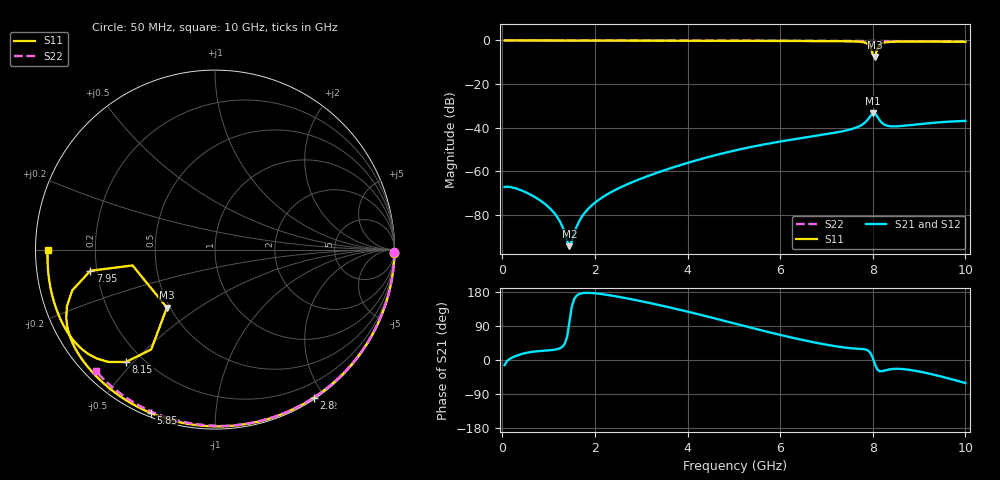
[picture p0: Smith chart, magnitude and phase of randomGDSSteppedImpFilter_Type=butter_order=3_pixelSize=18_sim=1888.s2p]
! freq	dB(S11)	phase(S11)	dB(S12)	phase(S12)
!  dB(S21)	phase(S21)	dB(S22)	phase(S22)
!S-par simulation data
#  GHz  S  DB  R 50
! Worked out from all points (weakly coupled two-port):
!   200 points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, 50 MHz to 10 GHz, reference 50 ohm
!   highest |S21| = -33.42 dB at 8 GHz (marker M1); lowest = -94.5 dB at 1.45 GHz (marker M2)
!   lowest |S11| = -7.5 dB at 8.05 GHz (marker M3), VSWR 2.45, Z = 24.1 - j18.9 ohm
!   |S11| at or under -10 dB: nowhere
!   |S22| runs from -0.5 to 0.0 dB; largest |S21 - S12| = 0
!   S11 on the Smith chart (normalised r, x): 50 MHz: open; 2.8 GHz: 0.02, -1.87; 5.85 GHz: 0.02, -0.68; 7.95 GHz: 0.17, -0.08; 8.15 GHz: 0.14, -0.48; 10 GHz: 0.04, -0.00
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0.05  -0.00 -1.0  -67.31 -13.4  -67.31 -13.4  -0.00 -0.8
0.3  -0.00 -6.2  -68.00 11.1  -68.00 11.1  -0.00 -4.6
0.65  -0.01 -13.4  -71.26 21.6  -71.26 21.6  -0.01 -10.0
1.15  -0.03 -23.6  -80.05 27.6  -80.05 27.6  -0.02 -17.6
1.45  -0.04 -29.7  -94.48 101.6  -94.48 101.6  -0.03 -22.1
1.75  -0.04 -35.7  -80.01 176.7  -80.01 176.7  -0.03 -26.6
2.15  -0.06 -43.6  -72.20 174.0  -72.20 174.0  -0.04 -32.6
2.8  -0.07 -56.2  -65.14 160.1  -65.14 160.1  -0.05 -42.1
3.4  -0.09 -67.6  -60.33 144.6  -60.33 144.6  -0.07 -50.7
5.05  -0.15 -97.5  -50.39 95.3  -50.39 95.3  -0.11 -73.4
5.85  -0.19 -111.5  -46.99 70.6  -46.99 70.6  -0.13 -83.8
6.7  -0.25 -126.7  -44.04 47.4  -44.04 47.4  -0.18 -94.6
7.6  -0.45 -146.4  -40.34 30.3  -40.34 30.3  -0.23 -105.6
7.85  -1.08 -159.1  -37.34 27.6  -37.34 27.6  -0.25 -108.6
7.95  -3.04 -170.3  -34.69 18.6  -34.69 18.6  -0.26 -109.8
8  -6.60 -169.1  -33.42 5.4  -33.42 5.4  -0.26 -110.4
8.05  -7.54 -129.7  -33.51 -12.6  -33.51 -12.6  -0.26 -111.0
8.1  -3.60 -122.6  -35.02 -25.3  -35.02 -25.3  -0.27 -111.6
8.15  -1.95 -128.4  -36.69 -29.7  -36.69 -29.7  -0.27 -112.2
8.35  -0.69 -142.7  -39.33 -25.1  -39.33 -25.1  -0.29 -114.6
8.95  -0.50 -158.9  -38.57 -29.2  -38.57 -29.2  -0.34 -121.8
10  -0.61 -179.8  -36.96 -60.7  -36.96 -60.7  -0.46 -134.5
